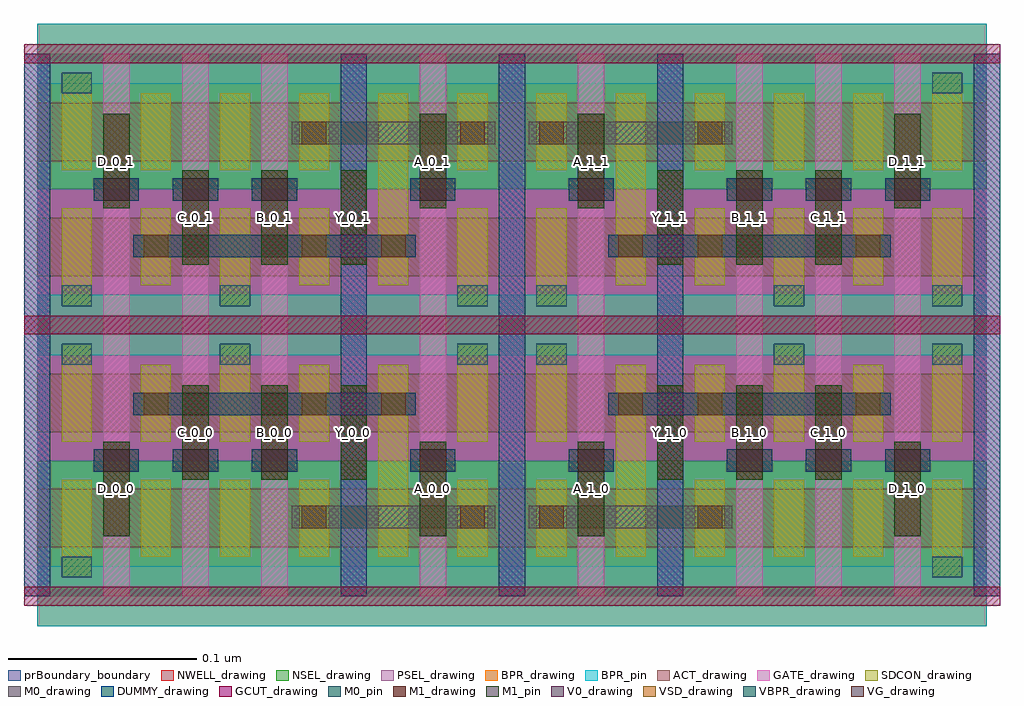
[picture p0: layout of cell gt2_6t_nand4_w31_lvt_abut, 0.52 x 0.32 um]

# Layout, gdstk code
from math import pi, radians
import gdstk
lib = gdstk.Library(unit=1e-6, precision=5e-10)
def R(c, l, rs):  # rectangles x0, y0, x1, y1
    for r in rs: c.add(gdstk.rectangle(r[:2], r[2:], *l))
def A(c, l, x, y, w, h, nx, ny, dx, dy):  # array of equal rectangles
    R(c, l, [(x+i*dx, y+j*dy, x+i*dx+w, y+j*dy+h) for i in range(nx) for j in range(ny)])
NWELL_drawing = (1, 0)
ACT_drawing = (2, 0)
GATE_drawing = (3, 0)
DUMMY_drawing = (4, 0)
GCUT_drawing = (5, 0)
NSEL_drawing = (6, 0)
PSEL_drawing = (7, 0)
BPR_drawing = (8, 0)
BPR_pin = (8, 251)
VBPR_drawing = (9, 0)
SDCON_drawing = (10, 0)
VSD_drawing = (11, 0)
VG_drawing = (12, 0)
M0_drawing = (20, 0)
M0_pin = (20, 251)
V0_drawing = (22, 0)
M1_drawing = (25, 0)
M1_pin = (25, 251)
prBoundary_boundary = (235, 250)

gt2_6t_nand4_w31_lvt = lib.new_cell('gt2_6t_nand4_w31_lvt')
R(gt2_6t_nand4_w31_lvt, NWELL_drawing, [(0,0.072,0.252,0.144)])
R(gt2_6t_nand4_w31_lvt, ACT_drawing, [(0,0.026,0.252,0.057), (0,0.087,0.252,0.118)])
A(gt2_6t_nand4_w31_lvt, GATE_drawing, -0.007, 0, 0.014, 0.144, 7, 1, 0.042, 0)
R(gt2_6t_nand4_w31_lvt, DUMMY_drawing, [(-0.007,0,0.007,0.072), (0.161,0,0.175,0.072), (0.245,0,0.259,0.072), (-0.007,0.072,0.007,0.144), (0.161,0.072,0.175,0.144), (0.245,0.072,0.259,0.144)])
R(gt2_6t_nand4_w31_lvt, GCUT_drawing, [(-0.007,-0.005,0.259,0.005), (-0.007,0.139,0.259,0.149)])
R(gt2_6t_nand4_w31_lvt, NSEL_drawing, [(0,0,0.252,0.072)])
R(gt2_6t_nand4_w31_lvt, PSEL_drawing, [(0,0.072,0.252,0.144)])
R(gt2_6t_nand4_w31_lvt, BPR_drawing, [(0,-0.016,0.252,0.016), (0,0.128,0.252,0.16)])
R(gt2_6t_nand4_w31_lvt, BPR_pin, [(0,-0.016,0.252,0.016), (0,0.128,0.252,0.16)])
R(gt2_6t_nand4_w31_lvt, VBPR_drawing, [(0.013,0.01,0.029,0.021), (0.013,0.123,0.029,0.134), (0.097,0.123,0.113,0.134), (0.223,0.123,0.239,0.134)])
A(gt2_6t_nand4_w31_lvt, SDCON_drawing, 0.055, 0.021, 0.016, 0.041, 3, 1, 0.042, 0)
R(gt2_6t_nand4_w31_lvt, SDCON_drawing, [(0.013,0.01,0.029,0.062), (0.181,0.021,0.197,0.123), (0.223,0.021,0.239,0.062), (0.013,0.082,0.029,0.134), (0.055,0.082,0.071,0.123), (0.097,0.082,0.113,0.134), (0.139,0.082,0.155,0.123), (0.223,0.082,0.239,0.134)])
R(gt2_6t_nand4_w31_lvt, VSD_drawing, [(0.1405,0.036,0.1535,0.048), (0.2245,0.036,0.2375,0.048), (0.0565,0.096,0.0695,0.108), (0.1405,0.096,0.1535,0.108), (0.1825,0.096,0.1955,0.108)])
A(gt2_6t_nand4_w31_lvt, VG_drawing, 0.035, 0.066, 0.014, 0.012, 3, 1, 0.042, 0)
R(gt2_6t_nand4_w31_lvt, VG_drawing, [(0.203,0.066,0.217,0.078)])
A(gt2_6t_nand4_w31_lvt, M0_drawing, 0.135, 0.096, 0.024, 0.012, 3, 1, 0.021, 0)
R(gt2_6t_nand4_w31_lvt, M0_drawing, [(0.135,0.036,0.159,0.048), (0.135,0.036,0.243,0.048), (0.219,0.036,0.243,0.048), (0.03,0.066,0.054,0.078), (0.03,0.066,0.054,0.078), (0.072,0.066,0.096,0.078), (0.072,0.066,0.096,0.078), (0.114,0.066,0.138,0.078), (0.114,0.066,0.138,0.078), (0.198,0.066,0.222,0.078), (0.198,0.066,0.222,0.078), (0.051,0.096,0.075,0.108), (0.051,0.096,0.201,0.108)])
A(gt2_6t_nand4_w31_lvt, M0_pin, 0.135, 0.096, 0.024, 0.012, 3, 1, 0.021, 0)
R(gt2_6t_nand4_w31_lvt, M0_pin, [(0.03,0.066,0.054,0.078), (0.03,0.066,0.054,0.078), (0.072,0.066,0.096,0.078), (0.072,0.066,0.096,0.078), (0.114,0.066,0.138,0.078), (0.114,0.066,0.138,0.078), (0.198,0.066,0.222,0.078), (0.198,0.066,0.222,0.078), (0.051,0.096,0.075,0.108), (0.051,0.096,0.201,0.108)])
A(gt2_6t_nand4_w31_lvt, V0_drawing, 0.035, 0.066, 0.014, 0.012, 3, 1, 0.042, 0)
R(gt2_6t_nand4_w31_lvt, V0_drawing, [(0.203,0.066,0.217,0.078), (0.161,0.096,0.175,0.108)])
A(gt2_6t_nand4_w31_lvt, M1_drawing, 0.035, 0.062, 0.014, 0.02, 3, 1, 0.042, 0)
A(gt2_6t_nand4_w31_lvt, M1_drawing, 0.077, 0.062, 0.014, 0.05, 3, 1, 0.042, 0)
R(gt2_6t_nand4_w31_lvt, M1_drawing, [(0.035,0.032,0.049,0.082), (0.203,0.032,0.217,0.082), (0.203,0.062,0.217,0.082), (0.161,0.092,0.175,0.112)])
A(gt2_6t_nand4_w31_lvt, M1_pin, 0.035, 0.062, 0.014, 0.02, 3, 1, 0.042, 0)
A(gt2_6t_nand4_w31_lvt, M1_pin, 0.077, 0.062, 0.014, 0.05, 3, 1, 0.042, 0)
R(gt2_6t_nand4_w31_lvt, M1_pin, [(0.035,0.032,0.049,0.082), (0.203,0.032,0.217,0.082), (0.203,0.062,0.217,0.082), (0.161,0.092,0.175,0.112)])
R(gt2_6t_nand4_w31_lvt, prBoundary_boundary, [(0,0,0.252,0.144)])
gt2_6t_nand4_w31_lvt.add(gdstk.Label('vss', (0.126,0), layer=8, texttype=251))
gt2_6t_nand4_w31_lvt.add(gdstk.Label('vdd', (0.126,0.144), layer=8, texttype=251))
gt2_6t_nand4_w31_lvt.add(gdstk.Label('D', (0.042,0.072), layer=20, texttype=251))
gt2_6t_nand4_w31_lvt.add(gdstk.Label('C', (0.084,0.072), layer=20, texttype=251))
gt2_6t_nand4_w31_lvt.add(gdstk.Label('B', (0.126,0.072), layer=20, texttype=251))
gt2_6t_nand4_w31_lvt.add(gdstk.Label('A', (0.21,0.072), layer=20, texttype=251))
gt2_6t_nand4_w31_lvt.add(gdstk.Label('Y', (0.063,0.102), layer=20, texttype=251))
gt2_6t_nand4_w31_lvt.add(gdstk.Label('Y', (0.147,0.102), layer=20, texttype=251))
gt2_6t_nand4_w31_lvt.add(gdstk.Label('Y', (0.189,0.102), layer=20, texttype=251))
gt2_6t_nand4_w31_lvt.add(gdstk.Label('D', (0.042,0.072), layer=20, texttype=251))
gt2_6t_nand4_w31_lvt.add(gdstk.Label('C', (0.084,0.072), layer=20, texttype=251))
gt2_6t_nand4_w31_lvt.add(gdstk.Label('B', (0.126,0.072), layer=20, texttype=251))
gt2_6t_nand4_w31_lvt.add(gdstk.Label('A', (0.21,0.072), layer=20, texttype=251))
gt2_6t_nand4_w31_lvt.add(gdstk.Label('Y', (0.126,0.102), layer=20, texttype=251))
gt2_6t_nand4_w31_lvt.add(gdstk.Label('Y', (0.168,0.102), layer=20, texttype=251))
gt2_6t_nand4_w31_lvt.add(gdstk.Label('D', (0.042,0.072), layer=25, texttype=251))
gt2_6t_nand4_w31_lvt.add(gdstk.Label('C', (0.084,0.072), layer=25, texttype=251))
gt2_6t_nand4_w31_lvt.add(gdstk.Label('B', (0.126,0.072), layer=25, texttype=251))
gt2_6t_nand4_w31_lvt.add(gdstk.Label('A', (0.21,0.072), layer=25, texttype=251))
gt2_6t_nand4_w31_lvt.add(gdstk.Label('Y', (0.168,0.102), layer=25, texttype=251))
gt2_6t_nand4_w31_lvt.add(gdstk.Label('D', (0.042,0.057), layer=25, texttype=251))
gt2_6t_nand4_w31_lvt.add(gdstk.Label('A', (0.21,0.057), layer=25, texttype=251))
gt2_6t_nand4_w31_lvt.add(gdstk.Label('C', (0.084,0.087), layer=25, texttype=251))
gt2_6t_nand4_w31_lvt.add(gdstk.Label('B', (0.126,0.087), layer=25, texttype=251))
gt2_6t_nand4_w31_lvt.add(gdstk.Label('Y', (0.168,0.087), layer=25, texttype=251))

gt2_6t_nand4_w31_lvt_abu = lib.new_cell('gt2_6t_nand4_w31_lvt_abut')
gt2_6t_nand4_w31_lvt_abu.add(gdstk.Reference(gt2_6t_nand4_w31_lvt, (0,0)))
gt2_6t_nand4_w31_lvt_abu.add(gdstk.Reference(gt2_6t_nand4_w31_lvt, (0.504,0), rotation=pi, x_reflection=True))
gt2_6t_nand4_w31_lvt_abu.add(gdstk.Reference(gt2_6t_nand4_w31_lvt, (0,0.288), x_reflection=True))
gt2_6t_nand4_w31_lvt_abu.add(gdstk.Reference(gt2_6t_nand4_w31_lvt, (0.504,0.288), rotation=pi))
gt2_6t_nand4_w31_lvt_abu.add(gdstk.Label('A_0_0', (0.21,0.057), layer=25, texttype=251))
gt2_6t_nand4_w31_lvt_abu.add(gdstk.Label('B_0_0', (0.126,0.087), layer=25, texttype=251))
gt2_6t_nand4_w31_lvt_abu.add(gdstk.Label('C_0_0', (0.084,0.087), layer=25, texttype=251))
gt2_6t_nand4_w31_lvt_abu.add(gdstk.Label('D_0_0', (0.042,0.057), layer=25, texttype=251))
gt2_6t_nand4_w31_lvt_abu.add(gdstk.Label('Y_0_0', (0.168,0.087), layer=25, texttype=251))
gt2_6t_nand4_w31_lvt_abu.add(gdstk.Label('A_1_0', (0.294,0.057), layer=25, texttype=251))
gt2_6t_nand4_w31_lvt_abu.add(gdstk.Label('B_1_0', (0.378,0.087), layer=25, texttype=251))
gt2_6t_nand4_w31_lvt_abu.add(gdstk.Label('C_1_0', (0.42,0.087), layer=25, texttype=251))
gt2_6t_nand4_w31_lvt_abu.add(gdstk.Label('D_1_0', (0.462,0.057), layer=25, texttype=251))
gt2_6t_nand4_w31_lvt_abu.add(gdstk.Label('Y_1_0', (0.336,0.087), layer=25, texttype=251))
gt2_6t_nand4_w31_lvt_abu.add(gdstk.Label('A_0_1', (0.21,0.231), layer=25, texttype=251))
gt2_6t_nand4_w31_lvt_abu.add(gdstk.Label('B_0_1', (0.126,0.201), layer=25, texttype=251))
gt2_6t_nand4_w31_lvt_abu.add(gdstk.Label('C_0_1', (0.084,0.201), layer=25, texttype=251))
gt2_6t_nand4_w31_lvt_abu.add(gdstk.Label('D_0_1', (0.042,0.231), layer=25, texttype=251))
gt2_6t_nand4_w31_lvt_abu.add(gdstk.Label('Y_0_1', (0.168,0.201), layer=25, texttype=251))
gt2_6t_nand4_w31_lvt_abu.add(gdstk.Label('A_1_1', (0.294,0.231), layer=25, texttype=251))
gt2_6t_nand4_w31_lvt_abu.add(gdstk.Label('B_1_1', (0.378,0.201), layer=25, texttype=251))
gt2_6t_nand4_w31_lvt_abu.add(gdstk.Label('C_1_1', (0.42,0.201), layer=25, texttype=251))
gt2_6t_nand4_w31_lvt_abu.add(gdstk.Label('D_1_1', (0.462,0.231), layer=25, texttype=251))
gt2_6t_nand4_w31_lvt_abu.add(gdstk.Label('Y_1_1', (0.336,0.201), layer=25, texttype=251))

lib.write_gds('gt2_6t_nand4_w31_lvt_abut.gds')
